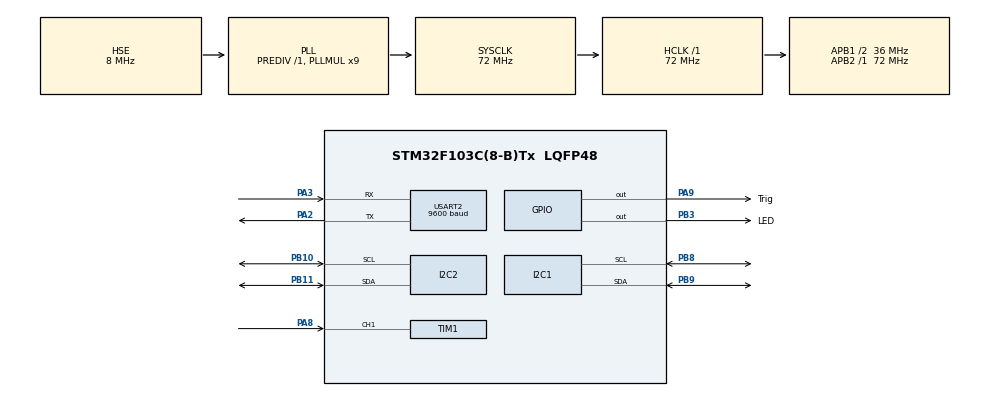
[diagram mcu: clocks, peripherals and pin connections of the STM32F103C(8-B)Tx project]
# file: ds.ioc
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Dma.Request0=USART2_RX
Dma.Request1=USART2_TX
Dma.USART2_RX.0.Direction=DMA_PERIPH_TO_MEMORY
Dma.USART2_RX.0.Instance=DMA1_Channel6
Dma.USART2_RX.0.MemDataAlignment=DMA_MDATAALIGN_BYTE
Dma.USART2_RX.0.MemInc=DMA_MINC_ENABLE
Dma.USART2_RX.0.Mode=DMA_NORMAL
Dma.USART2_RX.0.PeriphDataAlignment=DMA_PDATAALIGN_BYTE
Dma.USART2_RX.0.PeriphInc=DMA_PINC_DISABLE
Dma.USART2_RX.0.Priority=DMA_PRIORITY_LOW
Dma.USART2_TX.1.Direction=DMA_MEMORY_TO_PERIPH
Dma.USART2_TX.1.Instance=DMA1_Channel7
Dma.USART2_TX.1.MemDataAlignment=DMA_MDATAALIGN_BYTE
Dma.USART2_TX.1.MemInc=DMA_MINC_ENABLE
Dma.USART2_TX.1.Mode=DMA_NORMAL
Dma.USART2_TX.1.PeriphDataAlignment=DMA_PDATAALIGN_BYTE
Dma.USART2_TX.1.PeriphInc=DMA_PINC_DISABLE
Dma.USART2_TX.1.Priority=DMA_PRIORITY_LOW
I2C1.I2C_Mode=I2C_Fast
I2C2.I2C_Mode=I2C_Fast
Mcu.Family=STM32F1
Mcu.Name=STM32F103C(8-B)Tx
Mcu.Package=LQFP48
NVIC.DMA1_Channel6_IRQn=true\:0\:0\:false\:false\:true\:false\:true\:true
NVIC.DMA1_Channel7_IRQn=true\:0\:0\:false\:false\:true\:false\:true\:true
NVIC.PriorityGroup=NVIC_PRIORITYGROUP_4
NVIC.TIM1_CC_IRQn=true\:0\:0\:false\:false\:true\:true\:true\:true
NVIC.TIM1_UP_IRQn=true\:0\:0\:false\:false\:true\:true\:true\:true
NVIC.TIM4_IRQn=true\:0\:0\:false\:false\:true\:true\:true\:true
NVIC.USART2_IRQn=true\:0\:0\:false\:false\:true\:true\:true\:true
PA13.Mode=Serial_Wire
PA13.Signal=SYS_JTMS-SWDIO
PA14.Mode=Serial_Wire
PA14.Signal=SYS_JTCK-SWCLK
PA2.Mode=Asynchronous
PA2.Signal=USART2_TX
PA3.Mode=Asynchronous
PA3.Signal=USART2_RX
PA8.Signal=S_TIM1_CH1
PA9.GPIO_Label=Trig
PA9.Signal=GPIO_Output
PB10.Mode=I2C
PB10.Signal=I2C2_SCL
PB11.Mode=I2C
PB11.Signal=I2C2_SDA
PB3.GPIO_Label=LED
PB3.PinState=GPIO_PIN_SET
PB3.Signal=GPIO_Output
PB8.Mode=I2C
PB8.Signal=I2C1_SCL
PB9.Mode=I2C
PB9.Signal=I2C1_SDA
PD0-OSC_IN.Mode=HSE-External-Oscillator
PD0-OSC_IN.Signal=RCC_OSC_IN
PD1-OSC_OUT.Mode=HSE-External-Oscillator
PD1-OSC_OUT.Signal=RCC_OSC_OUT
ProjectManager.HeapSize=0x200
ProjectManager.StackSize=0x400
ProjectManager.TargetToolchain=STM32CubeIDE
RCC.AHBFreq_Value=72000000
RCC.APB1CLKDivider=RCC_HCLK_DIV2
RCC.APB1Freq_Value=36000000
RCC.APB1TimFreq_Value=72000000
RCC.APB2Freq_Value=72000000
RCC.APB2TimFreq_Value=72000000
RCC.HCLKFreq_Value=72000000
RCC.PLLMUL=RCC_PLL_MUL9
RCC.PLLSourceVirtual=RCC_PLLSOURCE_HSE
RCC.SYSCLKFreq_VALUE=72000000
RCC.SYSCLKSource=RCC_SYSCLKSOURCE_PLLCLK
RCC.USBFreq_Value=72000000
SH.S_TIM1_CH1.0=TIM1_CH1,Input_Capture1_from_TI1
TIM1.Channel-Input_Capture1_from_TI1=TIM_CHANNEL_1
TIM1.Prescaler=72-1
TIM4.Period=100-1
TIM4.Prescaler=7200-1
USART2.BaudRate=9600
USART2.VirtualMode=VM_ASYNC
VP_TIM1_VS_ClockSourceINT.Mode=Internal
VP_TIM4_VS_ClockSourceINT.Mode=Internal
board=custom

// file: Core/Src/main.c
/* USER CODE BEGIN Header */
/**
  ******************************************************************************
  * @file           : main.c
  * @brief          : Main program body
  ******************************************************************************
  * @attention
  *
  * Copyright (c) 2025 STMicroelectronics.
  * All rights reserved.
  *
  * This software is licensed under terms that can be found in the LICENSE file
  * in the root directory of this software component.
  * If no LICENSE file comes with this software, it is provided AS-IS.
  *
  ******************************************************************************
  */
/* USER CODE END Header */
#include "main.h"
#include "dma.h"
#include "i2c.h"
#include "tim.h"
#include "usart.h"
#include "gpio.h"

/* USER CODE BEGIN Includes */
#include <stdio.h>
#include <string.h>
#include "font.h"
#include "oled.h"
#include "SR04.h"
#include "mpu6050.h"
#include "VL53L0X.h"
/* USER CODE END Includes */

/* USER CODE BEGIN PTD */
extern DMA_HandleTypeDef hdma_usart2_rx;
extern DMA_HandleTypeDef hdma_usart3_tx;

uint8_t receivedata[50];
uint8_t transmitdata[20] = "系统开机！";
uint8_t mode2data[20] = "当前为模式2";
int mode;
int sum;

sr04_t sr04;
char message_sr04[20] = "";

MPU6050_t MPU6050;
char messagex[20] = "";
char messagey[20] = "";
char messagez[20] = "";

uint16_t vl53l0x_distance;
statInfo_t_VL53L0X distanceStr;
char message_vl[30] = "";
/* USER CODE END PTD */

void SystemClock_Config(void);

/* USER CODE BEGIN 0 */
void HAL_UARTEx_RxEventCallback(UART_HandleTypeDef *huart, uint16_t Size) {
  if (huart == &huart2) {
    if (receivedata[0] == '2') {
      HAL_UART_Transmit_IT(&huart2, mode2data, strlen(mode2data));
    }

    HAL_UARTEx_ReceiveToIdle_DMA(&huart2, receivedata, sizeof(receivedata));
    __HAL_DMA_DISABLE_IT(&hdma_usart2_rx, DMA_IT_HT);
  }
}

void HAL_TIM_PeriodElapsedCallback(TIM_HandleTypeDef *htim) {
  if (htim == &htim4) {
    MPU6050_Read_All(&hi2c2, &MPU6050);
  }
}
/* USER CODE END 0 */

int main(void)
{

  /* MCU Configuration--------------------------------------------------------*/

  /* Reset of all peripherals, Initializes the Flash interface and the Systick. */
  HAL_Init();

  /* Configure the system clock */
  SystemClock_Config();

  /* Initialize all configured peripherals */
  MX_GPIO_Init();
  MX_DMA_Init();
  MX_TIM1_Init();
  MX_I2C1_Init();
  MX_USART2_UART_Init();
  MX_I2C2_Init();
  MX_TIM4_Init();
  /* USER CODE BEGIN 2 */
  OLED_Init();

  HAL_UART_Transmit_IT(&huart2, transmitdata, strlen(transmitdata));
  HAL_UARTEx_ReceiveToIdle_DMA(&huart2, receivedata, sizeof(receivedata));
  __HAL_DMA_DISABLE_IT(&hdma_usart2_rx, DMA_IT_HT);

  //超声波测距SR04
  sr04.trig_port = GPIOA;
  sr04.trig_pin = GPIO_PIN_9;
  sr04.echo_htim = &htim1;
  sr04.echo_channel = TIM_CHANNEL_1;
  sr04_init(&sr04);

  //MPU6050
  while (MPU6050_Init(&hi2c2) == 1);

  // initVL53L0X(0, &hi2c2);

  HAL_TIM_Base_Start_IT(&htim4);
  /* USER CODE END 2 */

  /* Infinite loop */
  /* USER CODE BEGIN WHILE */
  while (1)
  {
    // sr04_trigger(&sr04);
    // HAL_Delay(100);
    // OLED_NewFrame();
    // sprintf(message_sr04, "distance: %lu", sr04.distance);
    // OLED_PrintString(0, 17, message_sr04, &font16x16, OLED_COLOR_NORMAL);
    // OLED_ShowFrame();

    //姿态传感器MPU
    sprintf(messagex, "roll: %.2f", MPU6050.KalmanAngleX);
    sprintf(messagey, "pitch: %.2f", MPU6050.KalmanAngleY);
    sprintf(messagez, "yaw: %.2f", MPU6050.AngleZ);
    OLED_NewFrame();
    OLED_PrintString(0, 0, messagex, &font16x16, OLED_COLOR_NORMAL);
    OLED_PrintString(0, 17, messagey, &font16x16, OLED_COLOR_NORMAL);
    OLED_PrintString(0, 33, messagez, &font16x16, OLED_COLOR_NORMAL);
    OLED_ShowFrame();
    sprintf(messagey, "pitch: %.2f \n", MPU6050.KalmanAngleY);
    HAL_UART_Transmit_DMA(&huart2,(uint8_t *) messagey, strlen(messagey));

    //TOF
    // vl53l0x_distance = readRangeSingleMillimeters(&distanceStr);
    // sprintf(message_vl, "distance: %d mm\r\n", vl53l0x_distance);
    // OLED_NewFrame();
    // OLED_PrintString(0, 0, message_vl, &font15x15, OLED_COLOR_NORMAL);
    // OLED_ShowFrame();
    // HAL_UART_Transmit_DMA(&huart2,(uint8_t *) message_vl, strlen(message_vl));
    /* USER CODE END WHILE */

  }
}

void SystemClock_Config(void)
{
  RCC_OscInitTypeDef RCC_OscInitStruct = {0};
  RCC_ClkInitTypeDef RCC_ClkInitStruct = {0};

  /** Initializes the RCC Oscillators according to the specified parameters
  * in the RCC_OscInitTypeDef structure.
  */
  RCC_OscInitStruct.OscillatorType = RCC_OSCILLATORTYPE_HSE;
  RCC_OscInitStruct.HSEState = RCC_HSE_ON;
  RCC_OscInitStruct.HSEPredivValue = RCC_HSE_PREDIV_DIV1;
  RCC_OscInitStruct.HSIState = RCC_HSI_ON;
  RCC_OscInitStruct.PLL.PLLState = RCC_PLL_ON;
  RCC_OscInitStruct.PLL.PLLSource = RCC_PLLSOURCE_HSE;
  RCC_OscInitStruct.PLL.PLLMUL = RCC_PLL_MUL9;
  if (HAL_RCC_OscConfig(&RCC_OscInitStruct) != HAL_OK)
  {
    Error_Handler();
  }

  /** Initializes the CPU, AHB and APB buses clocks
  */
  RCC_ClkInitStruct.ClockType = RCC_CLOCKTYPE_HCLK|RCC_CLOCKTYPE_SYSCLK
                              |RCC_CLOCKTYPE_PCLK1|RCC_CLOCKTYPE_PCLK2;
  RCC_ClkInitStruct.SYSCLKSource = RCC_SYSCLKSOURCE_PLLCLK;
  RCC_ClkInitStruct.AHBCLKDivider = RCC_SYSCLK_DIV1;
  RCC_ClkInitStruct.APB1CLKDivider = RCC_HCLK_DIV2;
  RCC_ClkInitStruct.APB2CLKDivider = RCC_HCLK_DIV1;

  if (HAL_RCC_ClockConfig(&RCC_ClkInitStruct, FLASH_LATENCY_2) != HAL_OK)
  {
    Error_Handler();
  }
}

void Error_Handler(void)
{
  __disable_irq();
  while (1)
  {
  }
}
